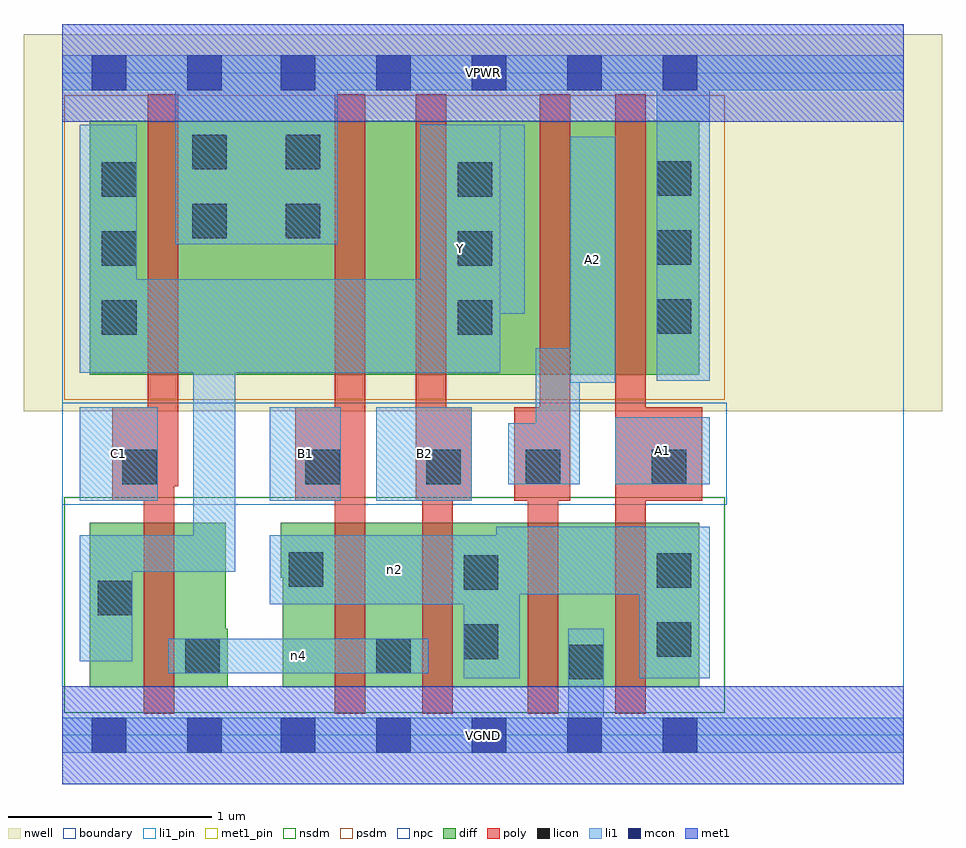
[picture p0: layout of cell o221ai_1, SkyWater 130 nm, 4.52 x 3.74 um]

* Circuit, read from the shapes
.subckt o221ai_1 A1 A2 B1 B2 C1 VGND VPWR Y n2 n4
XM1 n4 C1 Y VSUBS sky130_fd_pr__nfet_01v8 w=0.81 l=0.15
XM2 n4 B1 n2 VSUBS sky130_fd_pr__nfet_01v8 w=0.81 l=0.15
XM3 n2 B2 n4 VSUBS sky130_fd_pr__nfet_01v8 w=0.81 l=0.15
XM4 VGND A2 n2 VSUBS sky130_fd_pr__nfet_01v8 w=0.81 l=0.15
XM5 n2 A1 VGND VSUBS sky130_fd_pr__nfet_01v8 w=0.81 l=0.15
XM6 VPWR C1 Y n1 sky130_fd_pr__pfet_01v8 w=1.25 l=0.15
XM7 n3 B1 VPWR n1 sky130_fd_pr__pfet_01v8 w=1.25 l=0.15
XM8 Y B2 n3 n1 sky130_fd_pr__pfet_01v8 w=1.25 l=0.15
XM9 n5 A2 Y n1 sky130_fd_pr__pfet_01v8 w=1.25 l=0.15
XM10 VPWR A1 n5 n1 sky130_fd_pr__pfet_01v8 w=1.25 l=0.15
.ends

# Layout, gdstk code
import gdstk
lib = gdstk.Library(unit=1e-6, precision=1e-09)
def R(c, l, rs):  # rectangles x0, y0, x1, y1
    for r in rs: c.add(gdstk.rectangle(r[:2], r[2:], *l))
def A(c, l, x, y, w, h, nx, ny, dx, dy):  # array of equal rectangles
    R(c, l, [(x+i*dx, y+j*dy, x+i*dx+w, y+j*dy+h) for i in range(nx) for j in range(ny)])
nwell = (64, 20)
diff = (65, 20)
poly = (66, 20)
licon = (66, 44)
li1_pin = (67, 16)
li1 = (67, 20)
mcon = (67, 44)
met1_pin = (68, 16)
met1 = (68, 20)
nsdm = (93, 44)
psdm = (94, 20)
npc = (95, 20)
boundary = (235, 4)

o221ai_1 = lib.new_cell('o221ai_1')
R(o221ai_1, nwell, [(-0.19,1.595,4.33,3.45), (0,1.595,4.14,3.45)])
R(o221ai_1, diff, [(0.135,0.235,0.805,1.045), (0.135,0.235,0.815,0.525), (1.085,0.235,3.135,1.045), (1.075,0.775,3.135,1.045), (0.135,1.775,3.135,3.025)])
R(o221ai_1, poly, [(0.4,0.105,0.55,1.615), (1.34,0.105,1.49,3.155), (1.77,0.105,1.92,1.615), (2.29,0.105,2.44,1.615), (2.72,0.105,2.87,3.155), (0.245,1.155,0.55,1.615), (1.145,1.155,1.49,1.615), (1.74,1.155,1.89,3.155), (1.74,1.155,2.015,1.615), (2.225,1.155,2.5,1.615), (2.35,1.155,2.5,3.155), (2.72,1.155,3.15,1.615), (0.42,1.225,0.57,3.155)])
A(o221ai_1, licon, 0.195, 1.97, 0.17, 0.17, 1, 3, 0, 0.34)
A(o221ai_1, licon, 1.945, 1.97, 0.17, 0.17, 1, 3, 0, 0.34)
A(o221ai_1, licon, 2.925, 1.975, 0.17, 0.17, 1, 3, 0, 0.34)
R(o221ai_1, licon, [(2.495,0.275,2.665,0.445), (0.605,0.305,0.775,0.475), (1.545,0.305,1.715,0.475), (1.975,0.375,2.145,0.545), (2.925,0.385,3.095,0.555), (0.175,0.59,0.345,0.76), (1.975,0.715,2.145,0.885), (2.925,0.725,3.095,0.895), (1.115,0.73,1.285,0.9), (0.295,1.235,0.465,1.405), (1.195,1.235,1.365,1.405), (1.79,1.235,1.96,1.405), (2.28,1.235,2.45,1.405), (2.9,1.235,3.07,1.405), (0.64,2.445,0.81,2.615), (1.1,2.445,1.27,2.615), (0.64,2.785,0.81,2.955), (1.1,2.785,1.27,2.955)])
R(o221ai_1, li1_pin, [(0.085,1.155,0.47,1.615), (1.02,1.155,1.37,1.615), (1.545,1.155,2.015,1.615), (2.72,1.235,3.185,1.565), (2.5,1.735,2.72,2.945), (1.76,1.785,2.155,3.005)])
R(o221ai_1, li1, [(0,-0.085,4.14,0.085), (2.49,-0.085,2.665,0.525), (1.975,0.28,2.25,0.985), (2.84,0.28,3.185,1.025), (0.52,0.305,1.8,0.475), (0.085,0.365,0.345,0.985), (1.02,0.645,2.25,0.985), (2.135,0.695,3.185,1.025), (0.085,0.805,0.85,0.985), (0.645,0.805,0.85,2.245), (0.085,1.155,0.47,1.615), (1.02,1.155,1.37,1.615), (1.545,1.155,2.015,1.615), (2.195,1.235,2.545,1.535), (2.33,1.235,2.545,1.905), (2.72,1.235,3.185,1.565), (2.5,1.735,2.72,2.945), (2.925,1.745,3.185,3.345), (0.085,1.785,2.155,2.245), (0.085,1.785,0.365,3.005), (1.76,1.785,2.155,3.005), (1.76,2.075,2.275,3.005), (0.555,2.415,1.355,3.345), (0,3.175,4.14,3.345)])
A(o221ai_1, mcon, 1.075, -0.085, 0.17, 0.17, 5, 2, 0.47, 3.26)
R(o221ai_1, mcon, [(0.145,-0.085,0.315,0.085), (0.615,-0.085,0.785,0.085), (0.145,3.175,0.315,3.345), (0.615,3.175,0.785,3.345)])
R(o221ai_1, met1_pin, [(0,-0.24,4.14,0.24), (0,3.02,4.14,3.5)])
R(o221ai_1, met1, [(0,-0.24,4.14,0.24), (0,3.02,4.14,3.5)])
R(o221ai_1, nsdm, [(0.01,0.11,3.26,1.17)])
R(o221ai_1, psdm, [(0.01,1.65,3.26,3.15)])
R(o221ai_1, npc, [(0,1.135,3.27,1.635)])
R(o221ai_1, boundary, [(0,0,4.14,3.26)])
o221ai_1.add(gdstk.Label('A1', (2.952,1.4), layer=67, texttype=5))
o221ai_1.add(gdstk.Label('A2', (2.61,2.34), layer=67, texttype=5))
o221ai_1.add(gdstk.Label('B1', (1.195,1.385), layer=67, texttype=5))
o221ai_1.add(gdstk.Label('B2', (1.78,1.385), layer=67, texttype=5))
o221ai_1.add(gdstk.Label('C1', (0.277,1.385), layer=67, texttype=5))
o221ai_1.add(gdstk.Label('Y', (1.957,2.395), layer=67, texttype=5))
o221ai_1.add(gdstk.Label('n4', (1.16,0.39), layer=67, texttype=5))
o221ai_1.add(gdstk.Label('n2', (1.635,0.815), layer=67, texttype=5))
o221ai_1.add(gdstk.Label('VPWR', (2.07,3.26), layer=68, texttype=5))
o221ai_1.add(gdstk.Label('VGND', (2.07,0), layer=68, texttype=5))
o221ai_1.add(gdstk.Label('A1', (2.952,1.4), layer=67, texttype=16))
o221ai_1.add(gdstk.Label('A2', (2.61,2.34), layer=67, texttype=16))
o221ai_1.add(gdstk.Label('B1', (1.195,1.385), layer=67, texttype=16))
o221ai_1.add(gdstk.Label('B2', (1.78,1.385), layer=67, texttype=16))
o221ai_1.add(gdstk.Label('C1', (0.277,1.385), layer=67, texttype=16))
o221ai_1.add(gdstk.Label('Y', (1.957,2.395), layer=67, texttype=16))
o221ai_1.add(gdstk.Label('VPWR', (2.07,3.26), layer=68, texttype=16))
o221ai_1.add(gdstk.Label('VGND', (2.07,0), layer=68, texttype=16))

lib.write_gds('o221ai_1.gds')
